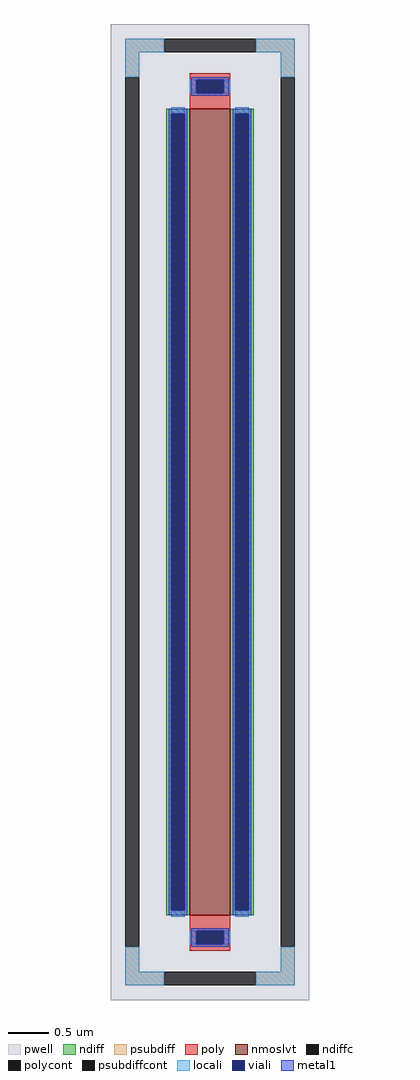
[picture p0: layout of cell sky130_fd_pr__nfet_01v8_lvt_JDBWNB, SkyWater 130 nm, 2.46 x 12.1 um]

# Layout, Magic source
magic
tech sky130A
<< pwell >>
rect -123 -605 123 605
<< nmoslvt >>
rect -25 -500 25 500
<< ndiff >>
rect -54 494 -25 500
rect -54 -494 -48 494
rect -31 -494 -25 494
rect -54 -500 -25 -494
rect 25 494 54 500
rect 25 -494 31 494
rect 48 -494 54 494
rect 25 -500 54 -494
<< ndiffc >>
rect -48 -494 -31 494
rect 31 -494 48 494
<< psubdiff >>
rect -105 570 -57 587
rect 57 570 105 587
rect -105 539 -88 570
rect 88 539 105 570
rect -105 -570 -88 -539
rect 88 -570 105 -539
rect -105 -587 -57 -570
rect 57 -587 105 -570
<< psubdiffcont >>
rect -57 570 57 587
rect -105 -539 -88 539
rect 88 -539 105 539
rect -57 -587 57 -570
<< poly >>
rect -25 536 25 544
rect -25 519 -17 536
rect 17 519 25 536
rect -25 500 25 519
rect -25 -519 25 -500
rect -25 -536 -17 -519
rect 17 -536 25 -519
rect -25 -544 25 -536
<< polycont >>
rect -17 519 17 536
rect -17 -536 17 -519
<< locali >>
rect -105 570 -57 587
rect 57 570 105 587
rect -105 539 -88 570
rect 88 539 105 570
rect -25 519 -17 536
rect 17 519 25 536
rect -48 494 -31 502
rect -48 -502 -31 -494
rect 31 494 48 502
rect 31 -502 48 -494
rect -25 -536 -17 -519
rect 17 -536 25 -519
rect -105 -570 -88 -539
rect 88 -570 105 -539
rect -105 -587 -57 -570
rect 57 -587 105 -570
<< viali >>
rect -17 519 17 536
rect -48 -494 -31 494
rect 31 -494 48 494
rect -17 -536 17 -519
<< metal1 >>
rect -23 536 23 539
rect -23 519 -17 536
rect 17 519 23 536
rect -23 516 23 519
rect -51 494 -28 500
rect -51 -494 -48 494
rect -31 -494 -28 494
rect -51 -500 -28 -494
rect 28 494 51 500
rect 28 -494 31 494
rect 48 -494 51 494
rect 28 -500 51 -494
rect -23 -519 23 -516
rect -23 -536 -17 -519
rect 17 -536 23 -519
rect -23 -539 23 -536
<< properties >>
string FIXED_BBOX -96 -578 96 578
string gencell sky130_fd_pr__nfet_01v8_lvt
string library sky130
string parameters w 10 l 0.5 m 1 nf 1 diffcov 100 polycov 100 guard 1 glc 1 grc 1 gtc 1 gbc 1 tbcov 100 rlcov 100 topc 1 botc 1 poverlap 0 doverlap 1 lmin 0.15 wmin 0.42 compatible {sky130_fd_pr__nfet_01v8 sky130_fd_pr__nfet_01v8_lvt  sky130_fd_bs_flash__special_sonosfet_star  sky130_fd_pr__nfet_g5v0d10v5 sky130_fd_pr__nfet_05v0_nvt  sky130_fd_pr__nfet_03v3_nvt} full_metal 1 viasrc 100 viadrn 100 viagate 100 viagb 0 viagr 0 viagl 0 viagt 0
<< end >>
